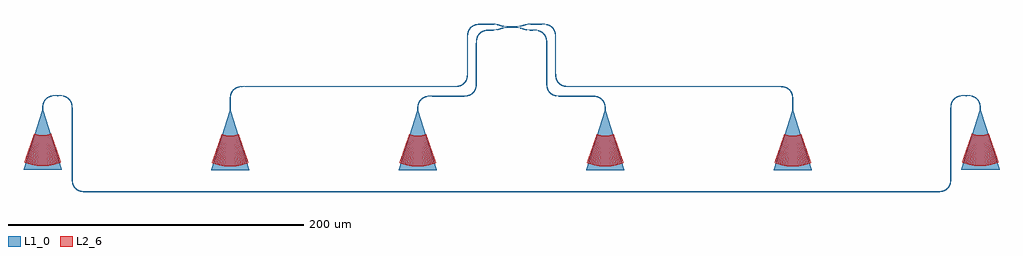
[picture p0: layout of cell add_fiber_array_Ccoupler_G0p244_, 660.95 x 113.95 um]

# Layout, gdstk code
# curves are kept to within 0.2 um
from math import pi, radians
import gdstk
lib = gdstk.Library(unit=1e-6, precision=1e-09)
def R(c, l, rs):  # rectangles x0, y0, x1, y1
    for r in rs: c.add(gdstk.rectangle(r[:2], r[2:], *l))
def P(c, l, *ps):  # polygons
    for p in ps: c.add(gdstk.Polygon(p, *l))
L1_0 = (1, 0)
L2_6 = (2, 6)

coupler_g0p244_l5p67_csc = lib.new_cell('coupler_G0p244_L5p67_CScoupler_s')
P(coupler_g0p244_l5p67_csc, L1_0, [(-10,-1.878),(-10,-1.378),(-8.633,-1.331),(-7.417,-1.189),(-6.249,-0.935),(-3.161,-0.038),(-1.773,0.17),(-0.303,0.248),(5.973,0.248),(7.562,0.158),(9.291,-0.143),(11.756,-0.89),(12.891,-1.155),(14.181,-1.322),(15.67,-1.378),(15.67,-1.878),(14.395,-1.839),(12.414,-1.57),(9.17,-0.628),(7.51,-0.339),(5.967,-0.252),(-0.44,-0.254),(-1.84,-0.339),(-3.06,-0.528),(-6.034,-1.394),(-7.233,-1.665),(-8.597,-1.83)],
  [(0,0.494),(-1.403,0.542),(-2.665,0.69),(-3.796,0.932),(-7.033,1.863),(-8.392,2.056),(-10,2.122),(-10,2.622),(-8.597,2.574),(-7.335,2.426),(-6.204,2.184),(-2.967,1.253),(-1.608,1.06),(0,0.994),(5.967,0.996),(7.395,1.071),(9.085,1.351),(11.62,2.115),(12.802,2.391),(14.141,2.564),(15.67,2.622),(15.67,2.122),(14.181,2.066),(12.796,1.881),(9.379,0.909),(8.016,0.641),(5.973,0.496)])

bend_euler_rnone_a90_p0p = lib.new_cell('bend_euler_RNone_A90_P0p5_WAFTru')
P(bend_euler_rnone_a90_p0p, L1_0, [(0,-0.25),(0,0.25),(2.881,0.353),(3.952,0.52),(4.99,0.806),(6.431,1.505),(7.575,2.425),(8.495,3.569),(9.194,5.01),(9.48,6.048),(9.647,7.119),(9.75,10),(10.25,10),(10.158,7.205),(9.797,5.254),(9.457,4.312),(9.066,3.545),(8.5,2.715),(7.928,2.072),(7.285,1.5),(6.455,0.934),(5.688,0.543),(4.746,0.203),(2.795,-0.158)])

straight_l1_n2_csxs_34e3 = lib.new_cell('straight_L1_N2_CSxs_34e31a19_W0p')
R(straight_l1_n2_csxs_34e3, L1_0, [(0,-0.25,1,0.25)])

straight_l0p5_n2_csxs_34 = lib.new_cell('straight_L0p5_N2_CSxs_34e31a19_W')
R(straight_l0p5_n2_csxs_34, L1_0, [(0,-0.25,0.5,0.25)])

straight_l7_n2_csxs_34e3 = lib.new_cell('straight_L7_N2_CSxs_34e31a19_W0p')
R(straight_l7_n2_csxs_34e3, L1_0, [(0,-0.25,7,0.25)])

straight_l4p5_n2_csxs_34 = lib.new_cell('straight_L4p5_N2_CSxs_34e31a19_W')
R(straight_l4p5_n2_csxs_34, L1_0, [(0,-0.25,4.5,0.25)])

grating_coupler_elliptic = lib.new_cell('grating_coupler_elliptical_trenc')
P(grating_coupler_elliptic, L1_0, [(40.352,-12.973),(0.471,-0.25),(0.471,0.25),(40.352,12.973),(40.552,12.973),(40.552,-12.973)])
P(grating_coupler_elliptic, L2_6, [(16.414,-5.811),(16.3,-5.646),(16.82,-4.153),(17.178,-2.617),(17.351,-1.313),(17.409,0),(17.351,1.313),(17.178,2.617),(16.82,4.153),(16.3,5.646),(16.414,5.811),(16.61,5.77),(16.981,4.76),(17.344,3.465),(17.658,1.611),(17.743,0),(17.658,-1.611),(17.344,-3.465),(16.981,-4.76),(16.61,-5.77)],
  [(17.047,-6.03),(16.933,-5.866),(17.473,-4.315),(17.845,-2.718),(18.025,-1.364),(18.085,0),(18.025,1.364),(17.845,2.718),(17.473,4.315),(16.933,5.866),(17.047,6.03),(17.243,5.988),(17.444,5.469),(17.793,4.407),(18.066,3.325),(18.33,1.671),(18.419,0),(18.33,-1.671),(18.066,-3.325),(17.793,-4.407),(17.444,-5.469),(17.243,-5.988)],
  [(17.68,-6.25),(17.566,-6.086),(18.126,-4.477),(18.512,-2.82),(18.699,-1.415),(18.761,0),(18.699,1.415),(18.512,2.82),(18.126,4.477),(17.566,6.086),(17.68,6.25),(17.876,6.208),(17.982,5.94),(18.363,4.846),(18.665,3.729),(19.003,1.733),(19.095,0),(19.003,-1.733),(18.665,-3.729),(18.363,-4.846),(17.982,-5.94),(17.876,-6.208)],
  [(18.313,-6.469),(18.199,-6.304),(18.779,-4.638),(19.179,-2.922),(19.373,-1.466),(19.437,0),(19.373,1.466),(19.179,2.922),(18.779,4.638),(18.199,6.304),(18.313,6.469),(18.509,6.428),(18.619,6.15),(19.013,5.018),(19.326,3.861),(19.676,1.794),(19.771,0),(19.676,-1.794),(19.326,-3.861),(19.013,-5.018),(18.619,-6.15),(18.509,-6.428)],
  [(18.946,-6.689),(18.832,-6.525),(19.432,-4.8),(19.846,-3.024),(20.046,-1.517),(20.113,0),(20.046,1.517),(19.846,3.024),(19.432,4.8),(18.832,6.525),(18.946,6.689),(19.142,6.647),(19.365,6.07),(19.752,4.892),(20.055,3.69),(20.349,1.855),(20.447,0),(20.349,-1.855),(20.055,-3.69),(19.752,-4.892),(19.365,-6.07),(19.142,-6.647)],
  [(19.579,-6.908),(19.465,-6.744),(20.085,-4.961),(20.513,-3.125),(20.72,-1.568),(20.789,0),(20.72,1.568),(20.513,3.125),(20.085,4.961),(19.465,6.744),(19.579,6.908),(19.775,6.866),(20.005,6.27),(20.405,5.053),(20.718,3.812),(21.021,1.917),(21.123,0),(21.021,-1.917),(20.718,-3.812),(20.405,-5.053),(20.005,-6.27),(19.775,-6.866)],
  [(20.212,-7.128),(20.098,-6.964),(20.738,-5.123),(21.18,-3.227),(21.394,-1.619),(21.465,0),(21.394,1.619),(21.18,3.227),(20.738,5.123),(20.098,6.964),(20.212,7.128),(20.408,7.086),(20.646,6.471),(21.058,5.215),(21.381,3.934),(21.694,1.978),(21.799,0),(21.694,-1.978),(21.381,-3.934),(21.058,-5.215),(20.646,-6.471),(20.408,-7.086)],
  [(20.844,-7.347),(20.73,-7.182),(21.391,-5.284),(21.847,-3.329),(22.068,-1.67),(22.141,0),(22.068,1.67),(21.847,3.329),(21.391,5.284),(20.73,7.182),(20.844,7.347),(21.04,7.306),(21.286,6.672),(21.711,5.376),(22.044,4.056),(22.367,2.039),(22.475,0),(22.367,-2.039),(22.044,-4.056),(21.711,-5.376),(21.286,-6.672),(21.04,-7.306)],
  [(21.477,-7.567),(21.363,-7.402),(22.044,-5.446),(22.514,-3.431),(22.741,-1.721),(22.817,0),(22.741,1.721),(22.514,3.431),(22.044,5.446),(21.363,7.402),(21.477,7.567),(21.673,7.526),(21.926,6.871),(22.364,5.538),(22.707,4.177),(23.04,2.1),(23.151,0),(23.04,-2.1),(22.707,-4.177),(22.364,-5.538),(21.926,-6.871),(21.673,-7.526)],
  [(22.11,-7.786),(21.996,-7.621),(22.697,-5.607),(23.181,-3.533),(23.415,-1.773),(23.493,0),(23.415,1.773),(23.181,3.533),(22.697,5.607),(21.996,7.621),(22.11,7.786),(22.306,7.745),(22.566,7.072),(23.017,5.699),(23.37,4.299),(23.712,2.161),(23.827,0),(23.712,-2.161),(23.37,-4.299),(23.017,-5.699),(22.566,-7.072),(22.306,-7.745)],
  [(22.743,-8.006),(22.629,-7.842),(23.35,-5.769),(23.848,-3.634),(24.089,-1.824),(24.169,0),(24.089,1.824),(23.848,3.634),(23.35,5.769),(22.629,7.842),(22.743,8.006),(22.939,7.964),(23.207,7.273),(23.67,5.861),(24.033,4.421),(24.385,2.223),(24.503,0),(24.385,-2.223),(24.033,-4.421),(23.67,-5.861),(23.207,-7.273),(22.939,-7.964)],
  [(23.376,-8.225),(23.262,-8.06),(24.003,-5.93),(24.515,-3.736),(24.763,-1.875),(24.845,0),(24.763,1.875),(24.515,3.736),(24.003,5.93),(23.262,8.06),(23.376,8.225),(23.572,8.184),(23.847,7.474),(24.323,6.022),(24.696,4.543),(25.058,2.284),(25.179,0),(25.058,-2.284),(24.696,-4.543),(24.323,-6.022),(23.847,-7.474),(23.572,-8.184)],
  [(24.009,-8.445),(23.895,-8.28),(24.657,-6.092),(25.182,-3.838),(25.436,-1.926),(25.521,0),(25.436,1.926),(25.182,3.838),(24.657,6.092),(23.895,8.28),(24.009,8.445),(24.205,8.404),(24.619,7.305),(24.977,6.184),(25.359,4.665),(25.731,2.346),(25.855,0),(25.731,-2.346),(25.359,-4.665),(24.977,-6.184),(24.619,-7.305),(24.205,-8.404)],
  [(24.642,-8.664),(24.528,-8.499),(25.31,-6.253),(25.849,-3.94),(26.11,-1.977),(26.197,0),(26.11,1.977),(25.849,3.94),(25.31,6.253),(24.528,8.499),(24.642,8.664),(24.838,8.623),(25.263,7.496),(25.63,6.345),(26.022,4.787),(26.404,2.407),(26.531,0),(26.404,-2.407),(26.022,-4.787),(25.63,-6.345),(25.263,-7.496),(24.838,-8.623)],
  [(25.275,-8.884),(25.161,-8.72),(25.963,-6.415),(26.516,-4.041),(26.784,-2.028),(26.873,0),(26.784,2.028),(26.516,4.041),(25.963,6.415),(25.161,8.72),(25.275,8.884),(25.471,8.842),(25.907,7.686),(26.283,6.507),(26.686,4.908),(27.076,2.468),(27.207,0),(27.076,-2.468),(26.686,-4.908),(26.283,-6.507),(25.907,-7.686),(25.471,-8.842)],
  [(25.908,-9.103),(25.794,-8.939),(26.237,-7.767),(26.616,-6.576),(26.932,-5.367),(27.183,-4.143),(27.458,-2.079),(27.549,0),(27.458,2.079),(27.183,4.143),(26.932,5.367),(26.616,6.576),(26.237,7.767),(25.794,8.939),(25.908,9.103),(26.104,9.061),(26.551,7.877),(26.936,6.668),(27.349,5.03),(27.749,2.529),(27.849,1.266),(27.883,0),(27.849,-1.266),(27.749,-2.529),(27.349,-5.03),(26.936,-6.668),(26.551,-7.877),(26.104,-9.061)],
  [(26.54,-9.323),(26.426,-9.158),(26.88,-7.958),(27.269,-6.738),(27.593,-5.498),(27.85,-4.245),(28.131,-2.13),(28.225,0),(28.131,2.13),(27.85,4.245),(27.593,5.498),(27.269,6.738),(26.88,7.958),(26.426,9.158),(26.54,9.323),(26.736,9.282),(27.194,8.068),(27.706,6.413),(28.012,5.152),(28.25,3.876),(28.422,2.59),(28.524,1.297),(28.559,0),(28.524,-1.297),(28.422,-2.59),(28.25,-3.876),(28.012,-5.152),(27.706,-6.413),(27.194,-8.068),(26.736,-9.282)],
  [(27.173,-9.542),(27.059,-9.377),(27.524,-8.149),(27.922,-6.9),(28.254,-5.63),(28.517,-4.347),(28.805,-2.181),(28.901,0),(28.805,2.181),(28.517,4.347),(28.254,5.63),(27.922,6.9),(27.524,8.149),(27.059,9.377),(27.173,9.542),(27.369,9.501),(27.838,8.259),(28.362,6.565),(28.675,5.274),(28.919,3.968),(29.095,2.652),(29.199,1.328),(29.235,0),(29.199,-1.328),(29.095,-2.652),(28.919,-3.968),(28.675,-5.274),(28.362,-6.565),(27.838,-8.259),(27.369,-9.501)],
  [(27.806,-9.762),(27.692,-9.597),(28.168,-8.339),(28.575,-7.061),(28.914,-5.762),(29.184,-4.448),(29.479,-2.232),(29.577,0),(29.479,2.232),(29.184,4.448),(28.914,5.762),(28.575,7.061),(28.168,8.339),(27.692,9.597),(27.806,9.762),(28.002,9.721),(28.482,8.449),(28.895,7.153),(29.338,5.396),(29.587,4.06),(29.767,2.713),(29.874,1.358),(29.911,0),(29.874,-1.358),(29.767,-2.713),(29.587,-4.06),(29.338,-5.396),(28.895,-7.153),(28.482,-8.449),(28.002,-9.721)],
  [(28.439,-9.981),(28.325,-9.816),(28.812,-8.53),(29.228,-7.223),(29.575,-5.894),(29.851,-4.55),(30.153,-2.283),(30.253,0),(30.153,2.283),(29.851,4.55),(29.575,5.894),(29.228,7.223),(28.812,8.53),(28.325,9.816),(28.439,9.981),(28.635,9.94),(29.126,8.64),(29.548,7.315),(30.001,5.518),(30.256,4.151),(30.44,2.774),(30.549,1.389),(30.587,0),(30.549,-1.389),(30.44,-2.774),(30.256,-4.151),(30.001,-5.518),(29.673,-6.869),(29.126,-8.64),(28.635,-9.94)],
  [(29.072,-10.201),(28.958,-10.037),(29.455,-8.721),(29.881,-7.384),(30.236,-6.026),(30.518,-4.652),(30.826,-2.334),(30.929,0),(30.826,2.334),(30.518,4.652),(30.236,6.026),(29.881,7.384),(29.455,8.721),(28.958,10.037),(29.072,10.201),(29.268,10.159),(29.769,8.831),(30.329,7.02),(30.664,5.639),(30.925,4.243),(31.113,2.836),(31.225,1.42),(31.263,0),(31.225,-1.42),(31.113,-2.836),(30.925,-4.243),(30.664,-5.639),(30.329,-7.02),(29.769,-8.831),(29.268,-10.159)],
  [(29.705,-10.42),(29.591,-10.255),(30.099,-8.912),(30.534,-7.546),(30.897,-6.158),(31.185,-4.754),(31.5,-2.385),(31.605,0),(31.5,2.385),(31.185,4.754),(30.897,6.158),(30.534,7.546),(30.099,8.912),(29.591,10.255),(29.705,10.42),(29.901,10.379),(30.413,9.022),(30.985,7.172),(31.327,5.761),(31.593,4.335),(31.786,2.896),(31.9,1.45),(31.939,0),(31.9,-1.45),(31.786,-2.896),(31.593,-4.335),(31.327,-5.761),(30.985,-7.172),(30.413,-9.022),(29.901,-10.379)],
  [(30.338,-10.64),(30.224,-10.475),(30.743,-9.103),(31.187,-7.707),(31.558,-6.289),(31.852,-4.855),(32.174,-2.437),(32.281,0),(32.174,2.437),(31.852,4.855),(31.558,6.289),(31.187,7.707),(30.743,9.103),(30.224,10.475),(30.338,10.64),(30.534,10.599),(31.057,9.213),(31.641,7.324),(31.99,5.883),(32.262,4.426),(32.458,2.958),(32.575,1.481),(32.615,0),(32.575,-1.481),(32.458,-2.958),(32.262,-4.426),(31.99,-5.883),(31.641,-7.324),(31.057,-9.213),(30.534,-10.599)],
  [(30.971,-10.859),(30.857,-10.695),(31.387,-9.293),(31.84,-7.869),(32.219,-6.421),(32.519,-4.957),(32.848,-2.488),(32.957,0),(32.848,2.488),(32.519,4.957),(32.219,6.421),(31.84,7.869),(31.387,9.293),(30.857,10.695),(30.971,10.859),(31.167,10.817),(31.701,9.403),(32.297,7.476),(32.653,6.005),(32.931,4.518),(33.131,3.019),(33.25,1.512),(33.291,0),(33.25,-1.512),(33.131,-3.019),(32.931,-4.518),(32.653,-6.005),(32.297,-7.476),(31.701,-9.403),(31.167,-10.817)],
  [(31.604,-11.079),(31.49,-10.915),(32.03,-9.484),(32.493,-8.03),(32.879,-6.553),(33.186,-5.059),(33.521,-2.539),(33.633,0),(33.521,2.539),(33.186,5.059),(32.879,6.553),(32.493,8.03),(32.03,9.484),(31.49,10.915),(31.604,11.079),(31.8,11.037),(32.344,9.594),(32.952,7.627),(33.316,6.127),(33.6,4.61),(33.804,3.081),(33.925,1.542),(33.967,0),(33.925,-1.542),(33.804,-3.081),(33.6,-4.61),(33.316,-6.127),(32.952,-7.627),(32.344,-9.594),(31.8,-11.037)],
  [(32.237,-11.298),(32.123,-11.133),(32.674,-9.675),(33.146,-8.192),(33.54,-6.685),(33.853,-5.161),(34.195,-2.59),(34.309,0),(34.195,2.59),(33.853,5.161),(33.54,6.685),(33.146,8.192),(32.674,9.675),(32.123,11.133),(32.237,11.298),(32.433,11.257),(32.988,9.785),(33.608,7.779),(33.979,6.249),(34.268,4.701),(34.477,3.142),(34.601,1.573),(34.643,0),(34.601,-1.573),(34.477,-3.142),(34.268,-4.701),(33.979,-6.249),(33.608,-7.779),(32.988,-9.785),(32.433,-11.257)],
  [(32.869,-11.518),(32.755,-11.353),(33.318,-9.866),(33.799,-8.353),(34.201,-6.817),(34.52,-5.262),(34.869,-2.641),(34.985,0),(34.869,2.641),(34.52,5.262),(34.201,6.817),(33.799,8.353),(33.318,9.866),(32.755,11.353),(32.869,11.518),(33.065,11.477),(33.632,9.976),(34.264,7.931),(34.642,6.37),(34.937,4.793),(35.149,3.203),(35.276,1.604),(35.319,0),(35.276,-1.604),(35.149,-3.203),(34.937,-4.793),(34.642,-6.37),(34.264,-7.931),(33.632,-9.976),(33.065,-11.477)],
  [(33.502,-11.738),(33.388,-11.573),(33.962,-10.056),(34.453,-8.515),(34.862,-6.949),(35.187,-5.364),(35.543,-2.692),(35.661,0),(35.543,2.692),(35.187,5.364),(34.862,6.949),(34.453,8.515),(33.962,10.056),(33.388,11.573),(33.502,11.738),(33.698,11.697),(34.276,10.166),(34.773,8.607),(35.305,6.492),(35.606,4.885),(35.822,3.264),(35.951,1.634),(35.995,0),(35.951,-1.634),(35.822,-3.264),(35.606,-4.885),(35.305,-6.492),(34.773,-8.607),(34.276,-10.166),(33.698,-11.697)],
  [(34.135,-11.957),(34.021,-11.792),(34.605,-10.247),(35.106,-8.676),(35.523,-7.08),(35.854,-5.466),(36.216,-2.743),(36.337,0),(36.216,2.743),(35.854,5.466),(35.523,7.08),(35.106,8.676),(34.605,10.247),(34.021,11.792),(34.135,11.957),(34.331,11.916),(34.919,10.357),(35.576,8.233),(35.968,6.614),(36.274,4.976),(36.495,3.325),(36.626,1.665),(36.671,0),(36.626,-1.665),(36.495,-3.325),(36.274,-4.976),(35.968,-6.614),(35.576,-8.233),(34.919,-10.357),(34.331,-11.916)],
  [(34.768,-12.177),(34.654,-12.013),(35.249,-10.438),(35.759,-8.838),(36.183,-7.212),(36.521,-5.568),(36.89,-2.794),(37.013,0),(36.89,2.794),(36.521,5.568),(36.183,7.212),(35.759,8.838),(35.249,10.438),(34.654,12.013),(34.768,12.177),(34.964,12.135),(35.563,10.548),(36.232,8.385),(36.631,6.736),(36.943,5.068),(37.168,3.387),(37.301,1.696),(37.347,0),(37.301,-1.696),(37.168,-3.387),(36.943,-5.068),(36.631,-6.736),(36.232,-8.385),(35.563,-10.548),(34.964,-12.135)],
  [(35.401,-12.396),(35.287,-12.231),(35.893,-10.629),(36.412,-8.999),(36.844,-7.344),(37.188,-5.669),(37.564,-2.845),(37.689,0),(37.564,2.845),(37.188,5.669),(36.844,7.344),(36.412,8.999),(35.893,10.629),(35.287,12.231),(35.401,12.396),(35.597,12.355),(36.207,10.739),(36.732,9.091),(37.295,6.858),(37.612,5.16),(37.84,3.448),(37.977,1.726),(38.023,0),(37.977,-1.726),(37.84,-3.448),(37.612,-5.16),(37.295,-6.858),(36.732,-9.091),(36.207,-10.739),(35.597,-12.355)])

straight_l6p5_n2_csxs_34 = lib.new_cell('straight_L6p5_N2_CSxs_34e31a19_W')
R(straight_l6p5_n2_csxs_34, L1_0, [(0,-0.25,6.5,0.25)])

straight_l140p63_n2_csxs = lib.new_cell('straight_L140p63_N2_CSxs_34e31a1')
R(straight_l140p63_n2_csxs, L1_0, [(0,-0.25,140.63,0.25)])

straight_l17p721_n2_csxs = lib.new_cell('straight_L17p721_N2_CSxs_34e31a1')
R(straight_l17p721_n2_csxs, L1_0, [(0,-0.25,17.721,0.25)])

straight_l19p63_n2_csxs_ = lib.new_cell('straight_L19p63_N2_CSxs_34e31a19')
R(straight_l19p63_n2_csxs_, L1_0, [(0,-0.25,19.63,0.25)])

straight_l24p221_n2_csxs = lib.new_cell('straight_L24p221_N2_CSxs_34e31a1')
R(straight_l24p221_n2_csxs, L1_0, [(0,-0.25,24.221,0.25)])

straight_l19p7_n2_csxs_3 = lib.new_cell('straight_L19p7_N2_CSxs_34e31a19_')
R(straight_l19p7_n2_csxs_3, L1_0, [(0,-0.25,19.7,0.25)])

straight_l140p7000000000 = lib.new_cell('straight_L140p70000000000002_N2_')
R(straight_l140p7000000000, L1_0, [(0,-0.25,140.7,0.25)])

straight_l45p081_n2_csxs = lib.new_cell('straight_L45p081_N2_CSxs_34e31a1')
R(straight_l45p081_n2_csxs, L1_0, [(0,-0.25,45.081,0.25)])

straight_l575_n2_csxs_34 = lib.new_cell('straight_L575_N2_CSxs_34e31a19_W')
R(straight_l575_n2_csxs_34, L1_0, [(0,-0.25,575,0.25)])

add_fiber_array_ccoupler = lib.new_cell('add_fiber_array_Ccoupler_G0p244_')
add_fiber_array_ccoupler.add(gdstk.Reference(coupler_g0p244_l5p67_csc, (0,0)))
add_fiber_array_ccoupler.add(gdstk.Reference(bend_euler_rnone_a90_p0p, (-21,-11.628), rotation=pi/2, x_reflection=True))
add_fiber_array_ccoupler.add(gdstk.Reference(straight_l1_n2_csxs_34e3, (-11,-1.628), x_reflection=True))
add_fiber_array_ccoupler.add(gdstk.Reference(straight_l0p5_n2_csxs_34, (-21,-11.628), rotation=3*pi/2, x_reflection=True))
add_fiber_array_ccoupler.add(gdstk.Reference(bend_euler_rnone_a90_p0p, (-27,-7.628), rotation=pi/2, x_reflection=True))
add_fiber_array_ccoupler.add(gdstk.Reference(straight_l7_n2_csxs_34e3, (-17,2.372), x_reflection=True))
add_fiber_array_ccoupler.add(gdstk.Reference(straight_l4p5_n2_csxs_34, (-27,-7.628), rotation=3*pi/2, x_reflection=True))
add_fiber_array_ccoupler.add(gdstk.Reference(bend_euler_rnone_a90_p0p, (26.67,-11.628), rotation=pi/2))
add_fiber_array_ccoupler.add(gdstk.Reference(straight_l1_n2_csxs_34e3, (16.67,-1.628), rotation=pi))
add_fiber_array_ccoupler.add(gdstk.Reference(straight_l0p5_n2_csxs_34, (26.67,-11.628), rotation=3*pi/2))
add_fiber_array_ccoupler.add(gdstk.Reference(bend_euler_rnone_a90_p0p, (32.67,-7.628), rotation=pi/2))
add_fiber_array_ccoupler.add(gdstk.Reference(straight_l7_n2_csxs_34e3, (22.67,2.372), rotation=pi))
add_fiber_array_ccoupler.add(gdstk.Reference(straight_l4p5_n2_csxs_34, (32.67,-7.628), rotation=3*pi/2))
add_fiber_array_ccoupler.add(gdstk.Reference(grating_coupler_elliptic, (-187.7,-55.878), rotation=3*pi/2))
add_fiber_array_ccoupler.add(gdstk.Reference(grating_coupler_elliptic, (-60.7,-55.878), rotation=3*pi/2))
add_fiber_array_ccoupler.add(gdstk.Reference(grating_coupler_elliptic, (66.3,-55.878), rotation=3*pi/2))
add_fiber_array_ccoupler.add(gdstk.Reference(grating_coupler_elliptic, (193.3,-55.878), rotation=3*pi/2))
add_fiber_array_ccoupler.add(gdstk.Reference(bend_euler_rnone_a90_p0p, (183.3,-39.849), x_reflection=True))
add_fiber_array_ccoupler.add(gdstk.Reference(straight_l6p5_n2_csxs_34, (193.3,-49.849), rotation=3*pi/2, x_reflection=True))
add_fiber_array_ccoupler.add(gdstk.Reference(bend_euler_rnone_a90_p0p, (32.67,-29.849), rotation=3*pi/2))
add_fiber_array_ccoupler.add(gdstk.Reference(straight_l140p63_n2_csxs, (42.67,-39.849)))
add_fiber_array_ccoupler.add(gdstk.Reference(straight_l17p721_n2_csxs, (32.67,-29.849), rotation=pi/2))
add_fiber_array_ccoupler.add(gdstk.Reference(bend_euler_rnone_a90_p0p, (56.3,-46.349), x_reflection=True))
add_fiber_array_ccoupler.add(gdstk.Reference(bend_euler_rnone_a90_p0p, (26.67,-36.349), rotation=3*pi/2))
add_fiber_array_ccoupler.add(gdstk.Reference(straight_l19p63_n2_csxs_, (36.67,-46.349)))
add_fiber_array_ccoupler.add(gdstk.Reference(straight_l24p221_n2_csxs, (26.67,-36.349), rotation=pi/2))
add_fiber_array_ccoupler.add(gdstk.Reference(bend_euler_rnone_a90_p0p, (-50.7,-46.349), rotation=pi))
add_fiber_array_ccoupler.add(gdstk.Reference(bend_euler_rnone_a90_p0p, (-21,-36.349), rotation=3*pi/2, x_reflection=True))
add_fiber_array_ccoupler.add(gdstk.Reference(straight_l19p7_n2_csxs_3, (-31,-46.349), rotation=pi, x_reflection=True))
add_fiber_array_ccoupler.add(gdstk.Reference(straight_l24p221_n2_csxs, (-21,-36.349), rotation=pi/2, x_reflection=True))
add_fiber_array_ccoupler.add(gdstk.Reference(bend_euler_rnone_a90_p0p, (-177.7,-39.849), rotation=pi))
add_fiber_array_ccoupler.add(gdstk.Reference(straight_l6p5_n2_csxs_34, (-187.7,-49.849), rotation=3*pi/2))
add_fiber_array_ccoupler.add(gdstk.Reference(bend_euler_rnone_a90_p0p, (-27,-29.849), rotation=3*pi/2, x_reflection=True))
add_fiber_array_ccoupler.add(gdstk.Reference(straight_l140p7000000000, (-37,-39.849), rotation=pi, x_reflection=True))
add_fiber_array_ccoupler.add(gdstk.Reference(straight_l17p721_n2_csxs, (-27,-29.849), rotation=pi/2, x_reflection=True))
add_fiber_array_ccoupler.add(gdstk.Reference(grating_coupler_elliptic, (-314.7,-55.529), rotation=3*pi/2))
add_fiber_array_ccoupler.add(gdstk.Reference(grating_coupler_elliptic, (320.3,-55.529), rotation=3*pi/2))
add_fiber_array_ccoupler.add(gdstk.Reference(bend_euler_rnone_a90_p0p, (-304.7,-46), rotation=pi))
add_fiber_array_ccoupler.add(gdstk.Reference(bend_euler_rnone_a90_p0p, (-294.7,-56), rotation=pi/2))
add_fiber_array_ccoupler.add(gdstk.Reference(bend_euler_rnone_a90_p0p, (-284.7,-111.081), rotation=pi, x_reflection=True))
add_fiber_array_ccoupler.add(gdstk.Reference(straight_l45p081_n2_csxs, (-294.7,-101.081), rotation=pi/2, x_reflection=True))
add_fiber_array_ccoupler.add(gdstk.Reference(bend_euler_rnone_a90_p0p, (300.3,-101.081), rotation=3*pi/2, x_reflection=True))
add_fiber_array_ccoupler.add(gdstk.Reference(straight_l575_n2_csxs_34, (290.3,-111.081), rotation=pi, x_reflection=True))
add_fiber_array_ccoupler.add(gdstk.Reference(bend_euler_rnone_a90_p0p, (310.3,-46), rotation=pi))
add_fiber_array_ccoupler.add(gdstk.Reference(straight_l45p081_n2_csxs, (300.3,-56), rotation=3*pi/2))
add_fiber_array_ccoupler.add(gdstk.Reference(bend_euler_rnone_a90_p0p, (320.3,-56), rotation=pi/2))

lib.write_gds('add_fiber_array_Ccoupler_G0p244_.gds')
